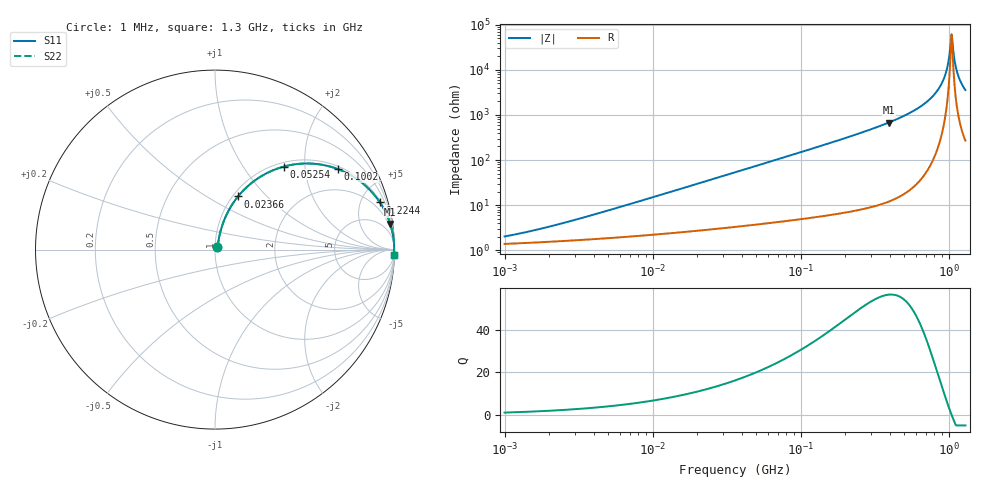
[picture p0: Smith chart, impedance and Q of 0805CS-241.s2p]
# MHz S MA R 50
!Freq  MagS11  AngS11  MagS21  AngS21  MagS12  AngS12  MagS22  AngS22
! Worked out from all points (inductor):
!   801 points, 1 MHz to 1.3 GHz, reference 50 ohm
!   read as one part in series: L = 235 nH near 3.476 MHz
!   highest Q = 56.6 at 394.7 MHz (marker M1), where L = 274 nH
!   self-resonance near 1.048 GHz
!   S11 on the Smith chart (normalised r, x): 1 MHz: 1.03, +0.03; 23.66 MHz: 1.06, +0.70; 52.54 MHz: 1.08, +1.56; 100.2 MHz: 1.10, +2.99; 224.4 MHz: 1.15, +6.94; 1.3 GHz: 6, -71
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1  0.01993 46.1  0.9863 -0.8  0.9863 -0.8  0.01993 46.1
3.323422  0.05099 68.2  0.9822 -2.8  0.9822 -2.8  0.05099 68.2
10.94658  0.1577 73.1  0.9659 -9.0  0.9659 -9.0  0.1577 73.1
23.6607  0.3228 66.6  0.9206 -18.8  0.9206 -18.8  0.3228 66.6
36.05551  0.4595 59.2  0.8604 -27.3  0.8604 -27.3  0.4595 59.2
52.5356  0.6004 50.4  0.7712 -36.8  0.7712 -36.8  0.6004 50.4
100.1633  0.8186 33.2  0.5482 -54.9  0.5482 -54.9  0.8186 33.2
119.8277  0.8627 28.7  0.481 -59.6  0.481 -59.6  0.8627 28.7
224.4023  0.9556 16.0  0.2752 -72.8  0.2752 -72.8  0.9556 16.0
394.6847  0.9868 8.4  0.1453 -80.6  0.1453 -80.6  0.9868 8.4
612.3212  0.9958 4.2  0.0726 -84.6  0.0726 -84.6  0.9958 4.2
808.4341  0.998 1.9  0.03396 -85.6  0.03396 -85.6  0.998 1.9
884.2374  0.9983 1.3  0.02216 -84.9  0.02216 -84.9  0.9983 1.3
941.4904  0.9984 0.8  0.01403 -83.0  0.01403 -83.0  0.9984 0.8
984.6413  0.9984 0.5  0.008298 -78.7  0.008298 -78.7  0.9984 0.5
1020.582  0.9984 0.2  0.00387 -65.4  0.00387 -65.4  0.9984 0.2
1048.395  0.9984 0.0  0.001637 -2.1  0.001637 -2.1  0.9984 0.0
1076.967  0.9983 -0.2  0.003796 63.6  0.003796 63.6  0.9983 -0.2
1116.277  0.9982 -0.5  0.008216 77.3  0.008216 77.3  0.9982 -0.5
1157.022  0.9981 -0.7  0.01279 81.1  0.01279 81.1  0.9981 -0.7
1231.938  0.9978 -1.2  0.0209 83.4  0.0209 83.4  0.9978 -1.2
1300  0.9975 -1.6  0.02793 84.1  0.02793 84.1  0.9975 -1.6
